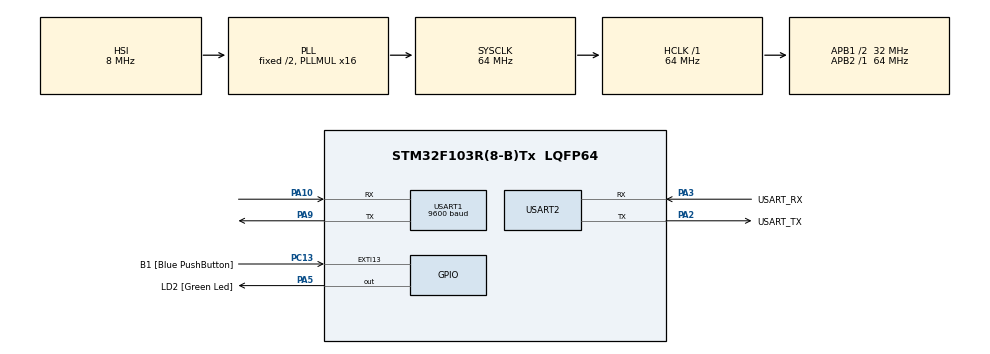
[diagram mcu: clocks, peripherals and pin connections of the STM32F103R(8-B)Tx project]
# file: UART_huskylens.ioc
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Mcu.Family=STM32F1
Mcu.Name=STM32F103R(8-B)Tx
Mcu.Package=LQFP64
NVIC.EXTI15_10_IRQn=true\:0\:0\:false\:false\:true\:true\:true\:true
NVIC.PriorityGroup=NVIC_PRIORITYGROUP_4
NVIC.USART1_IRQn=true\:0\:0\:false\:false\:true\:true\:true\:true
PA10.Mode=Asynchronous
PA10.Signal=USART1_RX
PA13.GPIO_Label=TMS
PA13.Mode=Serial_Wire
PA13.Signal=SYS_JTMS-SWDIO
PA14.GPIO_Label=TCK
PA14.Mode=Serial_Wire
PA14.Signal=SYS_JTCK-SWCLK
PA2.GPIO_Label=USART_TX
PA2.GPIO_Mode=GPIO_MODE_AF_PP
PA2.GPIO_PuPd=GPIO_NOPULL
PA2.GPIO_Speed=GPIO_SPEED_FREQ_LOW
PA2.Mode=Asynchronous
PA2.Signal=USART2_TX
PA3.GPIO_Label=USART_RX
PA3.GPIO_Mode=GPIO_MODE_AF_PP
PA3.GPIO_PuPd=GPIO_NOPULL
PA3.GPIO_Speed=GPIO_SPEED_FREQ_LOW
PA3.Mode=Asynchronous
PA3.Signal=USART2_RX
PA5.GPIO_Label=LD2 [Green Led]
PA5.GPIO_ModeDefaultOutputPP=GPIO_MODE_OUTPUT_PP
PA5.GPIO_PuPd=GPIO_NOPULL
PA5.GPIO_Speed=GPIO_SPEED_FREQ_LOW
PA5.Signal=GPIO_Output
PA9.Mode=Asynchronous
PA9.Signal=USART1_TX
PB3.GPIO_Label=SWO
PB3.Signal=SYS_JTDO-TRACESWO
PC13-TAMPER-RTC.GPIO_Label=B1 [Blue PushButton]
PC13-TAMPER-RTC.GPIO_PuPd=GPIO_NOPULL
PC13-TAMPER-RTC.Signal=GPXTI13
PC14-OSC32_IN.Mode=LSE-External-Oscillator
PC14-OSC32_IN.Signal=RCC_OSC32_IN
PC15-OSC32_OUT.Mode=LSE-External-Oscillator
PC15-OSC32_OUT.Signal=RCC_OSC32_OUT
PD0-OSC_IN.Mode=HSE-External-Clock-Source
PD0-OSC_IN.Signal=RCC_OSC_IN
PD1-OSC_OUT.Mode=HSE-External-Clock-Source
PD1-OSC_OUT.Signal=RCC_OSC_OUT
ProjectManager.HeapSize=0x200
ProjectManager.StackSize=0x400
ProjectManager.TargetToolchain=STM32CubeIDE
RCC.AHBFreq_Value=64000000
RCC.APB1CLKDivider=RCC_HCLK_DIV2
RCC.APB1Freq_Value=32000000
RCC.APB1TimFreq_Value=64000000
RCC.APB2Freq_Value=64000000
RCC.APB2TimFreq_Value=64000000
RCC.HCLKFreq_Value=64000000
RCC.PLLMUL=RCC_PLL_MUL16
RCC.RTCClockSelection=RCC_RTCCLKSOURCE_LSE
RCC.SYSCLKFreq_VALUE=64000000
RCC.SYSCLKSource=RCC_SYSCLKSOURCE_PLLCLK
RCC.USBFreq_Value=64000000
USART1.BaudRate=9600
USART1.VirtualMode=VM_ASYNC
USART2.VirtualMode=VM_ASYNC
board=NUCLEO-F103RB

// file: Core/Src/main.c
/* USER CODE BEGIN Header */
/**
  ******************************************************************************
  * @file           : main.c
  * @brief          : Main program body
  ******************************************************************************
  * @attention
  *
  * Copyright (c) 2025 STMicroelectronics.
  * All rights reserved.
  *
  * This software is licensed under terms that can be found in the LICENSE file
  * in the root directory of this software component.
  * If no LICENSE file comes with this software, it is provided AS-IS.
  *
  ******************************************************************************
  */
/* USER CODE END Header */
#include "main.h"
#include "usart.h"
#include "gpio.h"

/* USER CODE BEGIN PV */
#define FRAME_BUFFER_SIZE 128
#define HEADER_0_INDEX      0
#define HEADER_1_INDEX      1
#define ADDRESS_INDEX       2
#define CONTENT_SIZE_INDEX  3
#define COMMAND_INDEX       4
#define CONTENT_INDEX       5
#define PROTOCOL_SIZE       6

static uint8_t receive_buffer[FRAME_BUFFER_SIZE];
static short receive_index = 0;
static short content_current = 0;
static short content_end = 0;
static bool receive_fail = false;
static bool content_read_end = false;

#define IS_BIG_ENDIAN() (!*(uint8_t *)&(uint16_t){1})
/* USER CODE END PV */

void SystemClock_Config(void);

/* USER CODE BEGIN 0 */
uint8_t rx_byte;

void HAL_UART_RxCpltCallback(UART_HandleTypeDef *huart)
{
    if (huart->Instance == USART1)
    {
        bool frame_complete = husky_lens_protocol_receive(rx_byte);

        if (frame_complete)
        {
            if (husky_lens_protocol_read_begin(0x36)) // ?��: command ID 0x36 (Learned ID Result ?��)
            {
                uint8_t x = husky_lens_protocol_read_uint8();
                uint8_t y = husky_lens_protocol_read_uint8();
                husky_lens_protocol_read_end();

                printf("Received Tag: X = %d, Y = %d\r\n", x, y);
            }
        }

        // ?��?�� 바이?�� ?��?�� �?�?
        HAL_UART_Receive_IT(&huart1, &rx_byte, 1);
    }
}

int __io_putchar(int ch)
{
    HAL_UART_Transmit(&huart2, (uint8_t *)&ch, 1, HAL_MAX_DELAY);
    return ch;
}

bool validateCheckSum(){
    uint8_t stackSumIndex=receive_buffer[CONTENT_SIZE_INDEX] + CONTENT_INDEX;
    uint8_t sum = 0;
    for (uint8_t i=0; i< stackSumIndex; i++) {
        sum+=receive_buffer[i];
    }
    return (sum == receive_buffer[stackSumIndex]);
}

bool husky_lens_protocol_receive(uint8_t data){
    switch (receive_index)
    {
    case HEADER_0_INDEX:
        if (data!=0x55) {receive_index = 0; return false;}
        receive_buffer[HEADER_0_INDEX] = 0x55;
        break;
    case HEADER_1_INDEX:
        if (data!=0xaa) {receive_index = 0; return false;}
        receive_buffer[HEADER_1_INDEX] = 0xaa;
        break;
    case ADDRESS_INDEX:
        receive_buffer[ADDRESS_INDEX] = data;
        break;
    case CONTENT_SIZE_INDEX:
        if (data >= FRAME_BUFFER_SIZE-PROTOCOL_SIZE) {receive_index = 0; return false;}
        receive_buffer[CONTENT_SIZE_INDEX] = data;
        break;
    default:
        receive_buffer[receive_index]=data;
        if (receive_index==receive_buffer[CONTENT_SIZE_INDEX]+CONTENT_INDEX) {
            content_end = receive_index;
            receive_index=0;
            return validateCheckSum();
        }
        break;
    }
    receive_index++;
    return false;
}

bool husky_lens_protocol_read_begin(uint8_t command){
    if (command == receive_buffer[COMMAND_INDEX])
    {
        content_current = CONTENT_INDEX;
        content_read_end = false;
        receive_fail = false;
        return true;
    }
    return false;
}

uint8_t husky_lens_protocol_read_uint8(){
    if (content_current >= content_end || content_read_end){receive_fail = true; return 0;}
    uint8_t result;
    memcpy(&result, receive_buffer + content_current, sizeof(result));
    content_current += sizeof(result);
    return result;
}

bool husky_lens_protocol_read_end(){
    if (receive_fail)
    {
        receive_fail = false;
        return false;
    }
    return content_current == content_end;
}
/* USER CODE END 0 */

int main(void)
{

  /* MCU Configuration--------------------------------------------------------*/

  /* Reset of all peripherals, Initializes the Flash interface and the Systick. */
  HAL_Init();

  /* Configure the system clock */
  SystemClock_Config();

  /* Initialize all configured peripherals */
  MX_GPIO_Init();
  MX_USART2_UART_Init();
  MX_USART1_UART_Init();
  /* USER CODE BEGIN 2 */
  HAL_UART_Receive_IT(&huart1, &rx_byte, 1); // UART1 ?��?�� ?��?��?��?�� ?��?��
  /* USER CODE END 2 */

  /* Infinite loop */
  while (1)
  {

  }
}

void SystemClock_Config(void)
{
  RCC_OscInitTypeDef RCC_OscInitStruct = {0};
  RCC_ClkInitTypeDef RCC_ClkInitStruct = {0};

  /** Initializes the RCC Oscillators according to the specified parameters
  * in the RCC_OscInitTypeDef structure.
  */
  RCC_OscInitStruct.OscillatorType = RCC_OSCILLATORTYPE_HSI;
  RCC_OscInitStruct.HSIState = RCC_HSI_ON;
  RCC_OscInitStruct.HSICalibrationValue = RCC_HSICALIBRATION_DEFAULT;
  RCC_OscInitStruct.PLL.PLLState = RCC_PLL_ON;
  RCC_OscInitStruct.PLL.PLLSource = RCC_PLLSOURCE_HSI_DIV2;
  RCC_OscInitStruct.PLL.PLLMUL = RCC_PLL_MUL16;
  if (HAL_RCC_OscConfig(&RCC_OscInitStruct) != HAL_OK)
  {
    Error_Handler();
  }

  /** Initializes the CPU, AHB and APB buses clocks
  */
  RCC_ClkInitStruct.ClockType = RCC_CLOCKTYPE_HCLK|RCC_CLOCKTYPE_SYSCLK
                              |RCC_CLOCKTYPE_PCLK1|RCC_CLOCKTYPE_PCLK2;
  RCC_ClkInitStruct.SYSCLKSource = RCC_SYSCLKSOURCE_PLLCLK;
  RCC_ClkInitStruct.AHBCLKDivider = RCC_SYSCLK_DIV1;
  RCC_ClkInitStruct.APB1CLKDivider = RCC_HCLK_DIV2;
  RCC_ClkInitStruct.APB2CLKDivider = RCC_HCLK_DIV1;

  if (HAL_RCC_ClockConfig(&RCC_ClkInitStruct, FLASH_LATENCY_2) != HAL_OK)
  {
    Error_Handler();
  }
}

void Error_Handler(void)
{
  __disable_irq();
  while (1)
  {
  }
}
